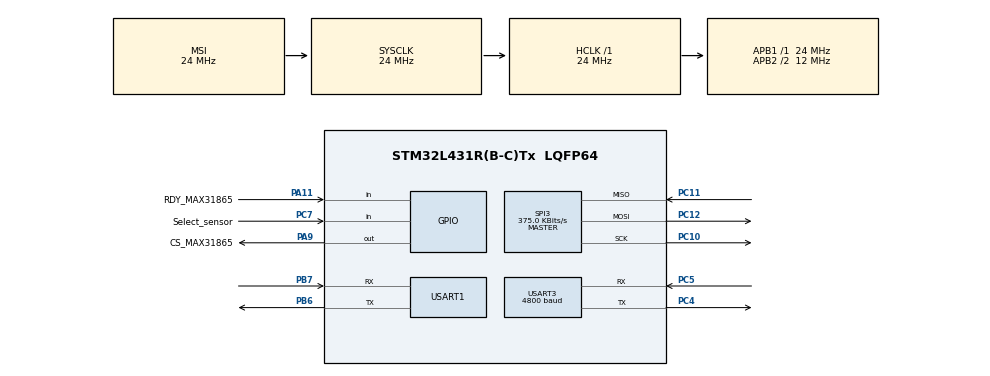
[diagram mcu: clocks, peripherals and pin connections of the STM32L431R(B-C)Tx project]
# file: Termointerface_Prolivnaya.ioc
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Mcu.Family=STM32L4
Mcu.Name=STM32L431R(B-C)Tx
Mcu.Package=LQFP64
NVIC.PriorityGroup=NVIC_PRIORITYGROUP_4
NVIC.TIM6_DAC_IRQn=true\:0\:0\:false\:false\:true\:true\:true\:true
NVIC.USART1_IRQn=true\:0\:0\:false\:false\:true\:true\:true\:true
NVIC.USART3_IRQn=true\:0\:0\:false\:false\:true\:true\:true\:true
PA11.GPIO_Label=RDY_MAX31865
PA11.Signal=GPIO_Input
PA13\ (JTMS-SWDIO).Mode=Serial_Wire
PA13\ (JTMS-SWDIO).Signal=SYS_JTMS-SWDIO
PA14\ (JTCK-SWCLK).Mode=Serial_Wire
PA14\ (JTCK-SWCLK).Signal=SYS_JTCK-SWCLK
PA9.GPIO_Label=CS_MAX31865
PA9.Signal=GPIO_Output
PB6.Mode=Asynchronous
PB6.Signal=USART1_TX
PB7.Mode=Asynchronous
PB7.Signal=USART1_RX
PC10.Mode=Full_Duplex_Master
PC10.Signal=SPI3_SCK
PC11.Mode=Full_Duplex_Master
PC11.Signal=SPI3_MISO
PC12.Mode=Full_Duplex_Master
PC12.Signal=SPI3_MOSI
PC4.Mode=Asynchronous
PC4.Signal=USART3_TX
PC5.Mode=Asynchronous
PC5.Signal=USART3_RX
PC7.GPIO_Label=Select_sensor
PC7.GPIO_PuPd=GPIO_PULLUP
PC7.Signal=GPIO_Input
PH0-OSC_IN\ (PH0).Mode=HSE-External-Oscillator
PH0-OSC_IN\ (PH0).Signal=RCC_OSC_IN
PH1-OSC_OUT\ (PH1).Mode=HSE-External-Oscillator
PH1-OSC_OUT\ (PH1).Signal=RCC_OSC_OUT
ProjectManager.HeapSize=0x200
ProjectManager.StackSize=0x400
ProjectManager.TargetToolchain=STM32CubeIDE
RCC.ADCFreq_Value=192000000
RCC.AHBFreq_Value=24000000
RCC.APB1Freq_Value=24000000
RCC.APB1TimFreq_Value=24000000
RCC.APB2CLKDivider=RCC_HCLK_DIV2
RCC.APB2Freq_Value=12000000
RCC.APB2TimFreq_Value=24000000
RCC.CortexFreq_Value=24000000
RCC.HCLKFreq_Value=24000000
RCC.HSE_VALUE=48000000
RCC.HSI48_VALUE=48000000
RCC.HSI_VALUE=16000000
RCC.LSE_VALUE=32768
RCC.MSIClockRange=RCC_MSIRANGE_9
RCC.MSI_VALUE=24000000
RCC.PLLSourceVirtual=RCC_PLLSOURCE_HSE
RCC.SYSCLKFreq_VALUE=24000000
RCC.VCOOutputFreq_Value=384000000
SPI3.BaudRatePrescaler=SPI_BAUDRATEPRESCALER_64
SPI3.CLKPhase=SPI_PHASE_2EDGE
SPI3.CalculateBaudRate=375.0 KBits/s
SPI3.DataSize=SPI_DATASIZE_8BIT
SPI3.Direction=SPI_DIRECTION_2LINES
SPI3.Mode=SPI_MODE_MASTER
SPI3.VirtualType=VM_MASTER
TIM6.Period=25000
TIM6.Prescaler=239
USART1.VirtualMode-Asynchronous=VM_ASYNC
USART3.BaudRate=4800
USART3.VirtualMode-Asynchronous=VM_ASYNC
VP_TIM6_VS_ClockSourceINT.Mode=Enable_Timer
board=custom

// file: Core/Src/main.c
/* USER CODE BEGIN Header */
/**
  ******************************************************************************
  * @file           : main.c
  * @brief          : Main program body
  ******************************************************************************
  * @attention
  *
  * Copyright (c) 2024 STMicroelectronics.
  * All rights reserved.
  *
  * This software is licensed under terms that can be found in the LICENSE file
  * in the root directory of this software component.
  * If no LICENSE file comes with this software, it is provided AS-IS.
  *
  ******************************************************************************
  */
/* USER CODE END Header */
#include "main.h"
#include "spi.h"
#include "tim.h"
#include "usart.h"
#include "gpio.h"

/* USER CODE BEGIN Includes */
#include "MAX31865.h"
//#include "string.h"
#include "stdbool.h"
//#include "stdio.h"
#include "stdlib.h"
#include "JMPs_and_BUTTs.h"

/* USER CODE END Includes */

/* USER CODE BEGIN PD */
#define Rref 1993 // оопротивление резистора Rref в Омах
/* USER CODE END PD */

/* USER CODE BEGIN PV */
//char trans_str[64] = {0,};

Max31865_t  pt500;
bool        pt500isOK;
float       pt500Temp;
uint16_t ADC_CODE;

float temperature;

int i_partTemp = 0;
int f_partTemp = 0;

int num_pack = 1;

int timeline = 0;

/* USER CODE END PV */

void SystemClock_Config(void);

/* USER CODE BEGIN 0 */

void HAL_UART_TxCpltCallback(UART_HandleTypeDef *huart)
  {
            if(huart == &huart3)
            {
            	//temperature = LT300_TemperatureReceive();
            }
  }

void HAL_TIM_PeriodElapsedCallback(TIM_HandleTypeDef *htim)
{
        if(htim->Instance == TIM6) //check if the interrupt comes from TIM1
        {
        	// посылка по USART1 значения температуры и другой информации
        				  /*
        					  i_partTemp = temperature;
        					  if(temperature > 0){ f_partTemp = (temperature - i_partTemp) * 100;}
        					  else { f_partTemp = abs( (temperature + abs(i_partTemp) ) * 100 ) ; }
        				 */
            RS485_SendIDandTEMP(num_pack, temperature);
            timeline++;
        }
}

long double Temp(uint16_t z)
	{
		float t; // температура в градусах Цельсия
		float Rt; // сопротивление датчика

		Rt = (z * Rref / 32768) - 0.20f; //z - ADC CODE from MAX31865. 32768 = 2^15
		t = (0.00004046 * Rt*Rt) + (0.471135 * Rt) - 245.68098748;
		return t;
	}
/* USER CODE END 0 */

int main(void)
{

  /* MCU Configuration--------------------------------------------------------*/

  /* Reset of all peripherals, Initializes the Flash interface and the Systick. */
  HAL_Init();

  /* Configure the system clock */
  SystemClock_Config();

  /* Initialize all configured peripherals */
  MX_GPIO_Init();
  MX_USART1_UART_Init();
  MX_SPI3_Init();
  MX_USART3_UART_Init();
  MX_TIM6_Init();
  /* USER CODE BEGIN 2 */

  HAL_TIM_Base_Start_IT(&htim6);

  Max31865_init(&pt500,&hspi3,CS_MAX31865_GPIO_Port,CS_MAX31865_Pin,2,50);
  /* USER CODE END 2 */

  /* Infinite loop */
  while (1)
  {

    /* USER CODE BEGIN 3 */

	  //проверка входа PC7
	  checkJS1();

	  if (timeline == 2) {
		  timeline = 0;
		  if ( JS1_isSet() ) {
			  // Работа с датчиком ЛТ-300. Запрос температуры датчика ЛТ-300
			  LT300_TemperatureRequest();
			  temperature = LT300_TemperatureReceive();
		  } else {
			  // Работа с �?МС MAX31865. чтение сопротивления и преобразование в температуру датчика PT-500
			  ADC_CODE = Max31865_readRTD(&pt500);
			  temperature = Temp(ADC_CODE);
		  }
	  }

	  // посылка по USART1 значения температуры и другой информации осуществляется в колбэке таймера 6

	  //HAL_Delay(10); // между отправкам 249.6мс

  }
  /* USER CODE END 3 */
}

void SystemClock_Config(void)
{
  RCC_OscInitTypeDef RCC_OscInitStruct = {0};
  RCC_ClkInitTypeDef RCC_ClkInitStruct = {0};

  /** Configure the main internal regulator output voltage
  */
  if (HAL_PWREx_ControlVoltageScaling(PWR_REGULATOR_VOLTAGE_SCALE1) != HAL_OK)
  {
    Error_Handler();
  }

  /** Initializes the RCC Oscillators according to the specified parameters
  * in the RCC_OscInitTypeDef structure.
  */
  RCC_OscInitStruct.OscillatorType = RCC_OSCILLATORTYPE_MSI;
  RCC_OscInitStruct.MSIState = RCC_MSI_ON;
  RCC_OscInitStruct.MSICalibrationValue = 0;
  RCC_OscInitStruct.MSIClockRange = RCC_MSIRANGE_9;
  RCC_OscInitStruct.PLL.PLLState = RCC_PLL_NONE;
  if (HAL_RCC_OscConfig(&RCC_OscInitStruct) != HAL_OK)
  {
    Error_Handler();
  }

  /** Initializes the CPU, AHB and APB buses clocks
  */
  RCC_ClkInitStruct.ClockType = RCC_CLOCKTYPE_HCLK|RCC_CLOCKTYPE_SYSCLK
                              |RCC_CLOCKTYPE_PCLK1|RCC_CLOCKTYPE_PCLK2;
  RCC_ClkInitStruct.SYSCLKSource = RCC_SYSCLKSOURCE_MSI;
  RCC_ClkInitStruct.AHBCLKDivider = RCC_SYSCLK_DIV1;
  RCC_ClkInitStruct.APB1CLKDivider = RCC_HCLK_DIV1;
  RCC_ClkInitStruct.APB2CLKDivider = RCC_HCLK_DIV2;

  if (HAL_RCC_ClockConfig(&RCC_ClkInitStruct, FLASH_LATENCY_1) != HAL_OK)
  {
    Error_Handler();
  }
}

void Error_Handler(void)
{
  __disable_irq();
  while (1)
  {
  }
}
